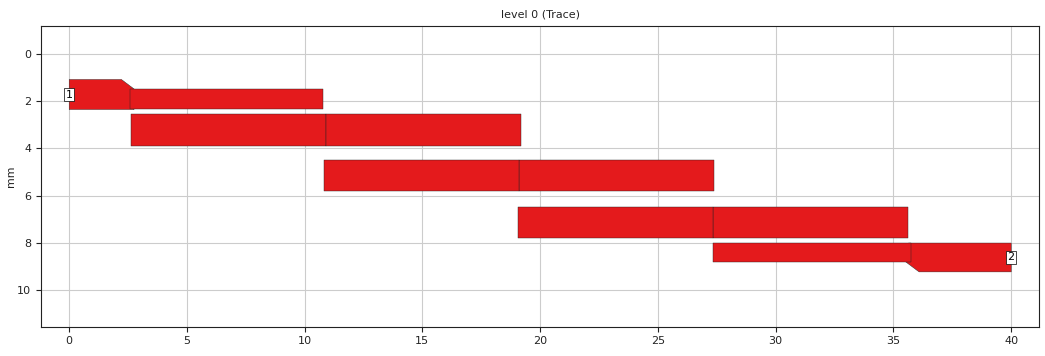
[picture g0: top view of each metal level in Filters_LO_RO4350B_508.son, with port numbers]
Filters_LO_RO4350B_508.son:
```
FTYP SONPROJ 19 ! Sonnet Project File
VER 18.53
HEADER
LIC SL64e88c52
DAT 09/17/2023 10:41:59
BUILT_BY_CREATED example 18.53 10/19/2021 01:59:07
BUILT_BY_SAVED sonnet 18.53-Lite
MDATE 09/17/2023 10:41:59
HDATE 09/17/2023 10:41:59
END HEADER
DIM
ANG DEG
CAP PF
CON /OH
FREQ GHZ
IND NH
LNG MM
RES OH
END DIM
CONTROL
VARSWP
OPTIONS  -dj
SPEED 0
CACHE_ABS 2
Q_ACC N
END CONTROL
GEO
TMET "Cover" 1 NOR 40900000 0.5 0.00254 
BMET "Cover" 1 NOR 40900000 0.5 0.00254 
MET "Gold_trace" 2 NOR 40900000 0.5 0.00254 
MET "Gold_Via" 1 VOL 40900000 0.00254
BOX 1 40 10.366 1600 406 20 0
      3.81 1 1 0 0 0 0 "Air"
      0.508 3.48 1 0.0029 0 0 0 "Rogers RO4003C"
TECHLAY METAL Trace <UNSPECIFIED> -2 -65534 
0 0 0 N 550 1 1 100 100 0 0 0 Y
END
END
TECHLAY VIA Via_Gnd <UNSPECIFIED> -3 -65534 
VIA POLYGON
1 0 1 N 683 1 1 100 100 0 0 0 Y
TOLEVEL 0 RING COVERS
END
END
VALVAR L1 LNG 8.3876712328767 "Dim. Param."
VALVAR L2 LNG "7.95*SCALE" "Dim. Param."
VALVAR W2 LNG 1.3265302315745 "Dim. Param."
VALVAR L1_1 NONE 8.1435045706955 ""
VALVAR SCALE NONE "7.5/7.2" ""
VALVAR L1_2 LNG 8.5796689140729 "Dim. Param. L1_2"
VALVAR W2_3 LNG 1.3302804220739 "Dim. Param. W2_3"
VALVAR W2_4 LNG 1.3203815404723 "Dim. Param. W2_4"
DIM STD YDIR -1
POS 0.8243394633 -1.723114553
NOM 0.8656911681
REF1 POLY 433 1
2
REF2 POLY 433 1
1
END
DIM STD YDIR -1
POS -8.745461188 -0.7159852497
NOM 0.204038262
REF1 POLY 512 1
0
REF2 POLY 433 1
2
END
DIM STD XDIR 1
POS 8.519250304 -5.536763315
NOM 16.5625
REF1 POLY 528 1
0
REF2 POLY 527 1
1
END
DIM STD XDIR -1
POS -4.257819094 -3.376114558
NOM 8.187104042
REF1 POLY 433 1
2
REF2 POLY 442 1
0
END
DIM STD YDIR 1
POS -1.401186452 1.15014628
NOM 0.6631358412
REF1 POLY 528 1
2
REF2 POLY 534 1
0
END
DIM STD YDIR 1
POS -1.566077786 2.702859774
NOM 1.330280422
REF1 POLY 442 1
0
REF2 POLY 442 1
3
END
LORGN 0 10.366 U 
POR1 BOX
POLY 15 1
3
1 50 0 0 0 0 1.709446569 
POR1 BOX
POLY 17 1
3
2 50 0 0 0 40 8.62982266 
NUM 10
0 7 0 N 15 1 1 100 100 0 0 0 Y
TLAYNAM Trace INH
3.21050739 1.99243004
3.21050739 1.816551101
2.218232358 1.072344828
0 1.072344828
0 2.346548311
2.738349697 2.346548311
3.21050739 1.99243004
END
0 7 0 N 17 1 1 100 100 0 0 0 Y
TLAYNAM Trace INH
35.21505355 8.587640601
35.21505355 8.339170313
35.64454171 8.017054187
40 8.017054187
40 9.242591133
36.08832091 9.242591133
35.21505355 8.587640601
END
0 5 0 N 433 1 1 100 100 0 0 0 Y
TLAYNAM Trace INH
2.6 1.480857143
10.79790127 1.480857143
10.79790127 2.346548311
2.6 2.346548311
2.6 1.480857143
END
0 5 0 N 442 1 1 100 100 0 0 0 Y
TLAYNAM Trace INH
2.61079723 2.550586573
10.89204723 2.550586573
10.89204723 3.880866995
2.61079723 3.880866995
2.61079723 2.550586573
END
0 5 0 N 512 1 1 100 100 0 0 0 Y
TLAYNAM Trace INH
10.89204723 2.550586573
19.17329723 2.550586573
19.17329723 3.877116805
10.89204723 3.877116805
10.89204723 2.550586573
END
0 5 0 N 527 1 1 100 100 0 0 0 Y
TLAYNAM Trace INH
19.08214094 4.489318241
27.36339094 4.489318241
27.36339094 5.815848473
19.08214094 5.815848473
19.08214094 4.489318241
END
0 5 0 N 528 1 1 100 100 0 0 0 Y
TLAYNAM Trace INH
10.80089094 4.489318241
19.08214094 4.489318241
19.08214094 5.815848473
10.80089094 5.815848473
10.80089094 4.489318241
END
0 5 0 N 533 1 1 100 100 0 0 0 Y
TLAYNAM Trace INH
27.3231048 6.485133005
35.6043548 6.485133005
35.6043548 7.805514545
27.3231048 7.805514545
27.3231048 6.485133005
END
0 5 0 N 534 1 1 100 100 0 0 0 Y
TLAYNAM Trace INH
19.0418548 6.478984314
27.3231048 6.478984314
27.3231048 7.805514546
19.0418548 7.805514546
19.0418548 6.478984314
END
0 5 0 N 539 1 1 100 100 0 0 0 Y
TLAYNAM Trace INH
27.35687048 8.017054187
35.74454171 8.017054187
35.74454171 8.834078818
27.35687048 8.834078818
27.35687048 8.017054187
END
END GEO
OPT
MAX 100
END OPT
VARSWP
ENABLED Y
FREQ Y AY ABS_ENTRY 4.8 6.0 -1 300 
FREQ N AY ABS_ENTRY 4.0 8.0 -1 300 
FREQ N AN STEP 5.32
VAR W2 N 1.32653023 1.32653023 UNDEF
VAR W2 N 1.1806216 1.1806216 UNDEF
VAR W2 N 1.38134446 1.38134446 UNDEF
VAR SCALE N 1.02739726 1.02739726 UNDEF
VAR L1_2 N 8.14350457 8.14350457 UNDEF
VAR L1 N 8.38767123 8.38767123 UNDEF
VAR W2_3 N 0.97283215 0.97283215 UNDEF
VAR W2_4 N 1.0139973 1.0139973 UNDEF
END
END VARSWP
3DOPTIONS
GLOBAL 1
ALL 2 1
END 3DOPTIONS
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```
